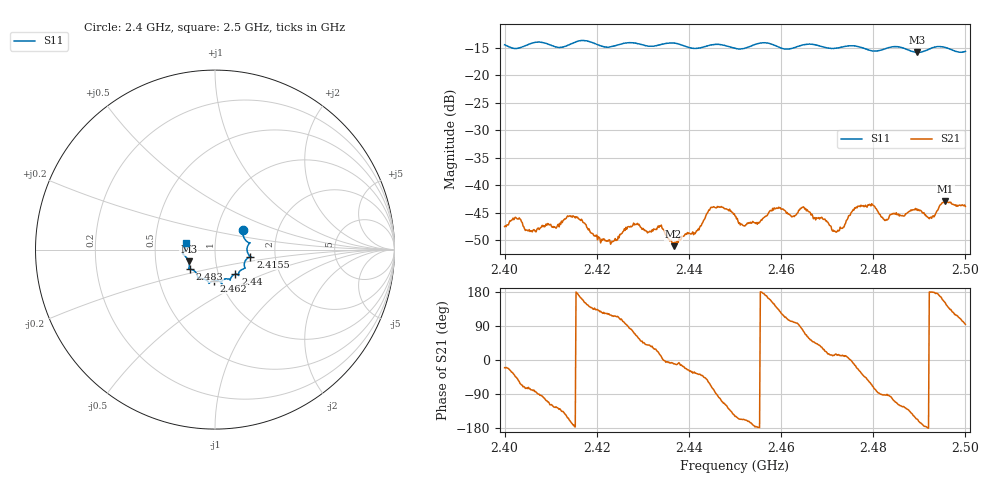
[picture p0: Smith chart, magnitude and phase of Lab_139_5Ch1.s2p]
# Hz S RI R 50
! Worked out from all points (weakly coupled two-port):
!   601 points, 2.4 GHz to 2.5 GHz, reference 50 ohm
!   highest |S21| = -42.93 dB at 2.4957 GHz (marker M1); lowest = -51.1 dB at 2.4367 GHz (marker M2)
!   lowest |S11| = -15.9 dB at 2.4895 GHz (marker M3), VSWR 1.38, Z = 36.9 - j5 ohm
!   |S11| at or under -10 dB: start of sweep to end of sweep
!   S12 and S22 are empty: the file has one direction only
!   S11 on the Smith chart (normalised r, x): 2.4 GHz: 1.33, +0.29; 2.4155 GHz: 1.49, -0.12; 2.44 GHz: 1.20, -0.34; 2.462 GHz: 0.93, -0.33; 2.483 GHz: 0.74, -0.17; 2.5 GHz: 0.72, +0.06
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2.4e9  0.1556 0.1066  0.00395 -0.00146  0 0  0 0
2.4155e9  0.1972 -0.0392  -0.00519 5.11e-05  0 0  0 0
2.416667e9  0.2017 -0.0426  -0.0047 0.00143  0 0  0 0
2.423e9  0.1636 -0.0761  -0.00139 0.00256  0 0  0 0
2.428333e9  0.1655 -0.1043  0.00162 0.00411  0 0  0 0
2.433333e9  0.1311 -0.1335  0.00399 0.00153  0 0  0 0
2.436667e9  0.1327 -0.144  0.00275 -0.000496  0 0  0 0
2.44e9  0.1141 -0.1369  0.00329 -0.00166  0 0  0 0
2.445167e9  0.0846 -0.1692  0.00158 -0.00612  0 0  0 0
2.45e9  0.0644 -0.1627  -0.00451 -0.00272  0 0  0 0
2.452e9  0.044 -0.169  -0.00394 -0.00165  0 0  0 0
2.459e9  0.0308 -0.1806  -0.00468 0.0041  0 0  0 0
2.462e9  -0.00505 -0.1733  -0.00117 0.00522  0 0  0 0
2.466667e9  -0.0343 -0.1876  0.00347 0.00422  0 0  0 0
2.471667e9  -0.0661 -0.162  0.00372 0.000928  0 0  0 0
2.477167e9  -0.0965 -0.1517  0.0055 -0.00324  0 0  0 0
2.483e9  -0.1376 -0.1096  -4.38e-05 -0.00484  0 0  0 0
2.483333e9  -0.1399 -0.1093  -0.000271 -0.00498  0 0  0 0
2.4895e9  -0.1464 -0.066  -0.00556 -0.00248  0 0  0 0
2.492667e9  -0.1737 -0.0296  -0.00501 4.18e-05  0 0  0 0
2.495667e9  -0.1775 -0.0169  -0.0062 0.00353  0 0  0 0
2.5e9  -0.1595 0.0393  -0.000451 0.0064  0 0  0 0
